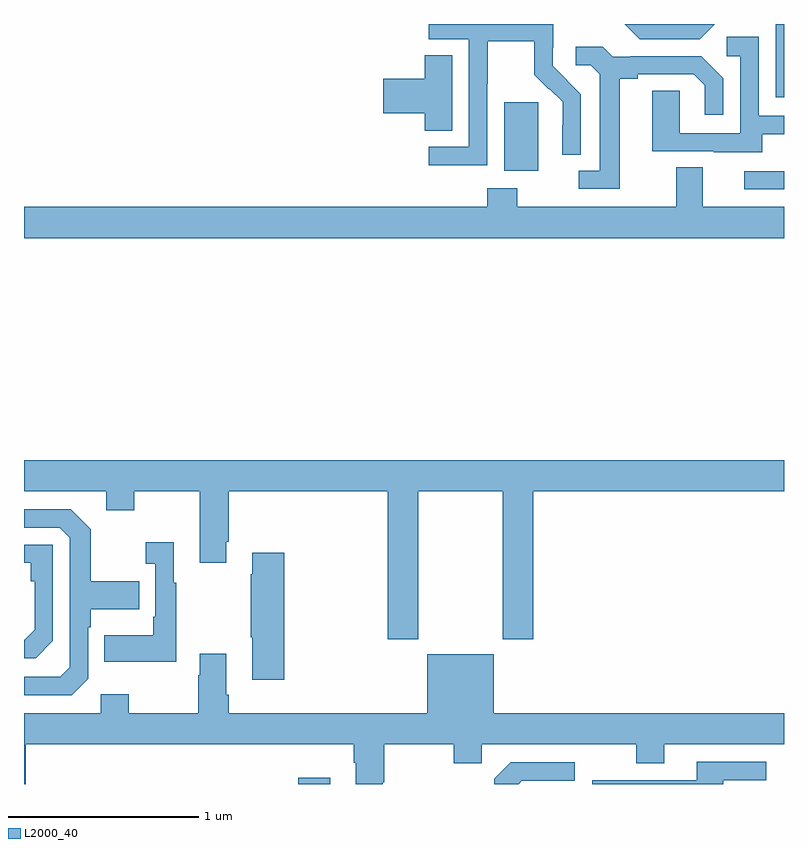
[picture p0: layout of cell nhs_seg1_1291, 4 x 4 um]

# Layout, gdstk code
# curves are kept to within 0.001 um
import gdstk
lib = gdstk.Library(unit=1e-6, precision=1e-09)
def R(c, l, rs):  # rectangles x0, y0, x1, y1
    for r in rs: c.add(gdstk.rectangle(r[:2], r[2:], *l))
def P(c, l, *ps):  # polygons
    for p in ps: c.add(gdstk.Polygon(p, *l))
L2000_40 = (2000, 40)

nhs_seg1_1291 = lib.new_cell('nhs_seg1_1291')
R(nhs_seg1_1291, L2000_40, [(182.444,542.199,182.611,542.233), (184.791,545.328,185,545.424), (183.527,545.426,183.706,545.787), (184.956,545.814,185,546.199)])
P(nhs_seg1_1291, L2000_40, [(184.636,546.199),(184.163,546.199),(184.242,546.12),(184.557,546.12)],
  [(183.438,545.884),(183.441,545.884),(183.441,546.108),(183.685,546.108),(183.685,545.933),(183.762,545.856),(183.765,545.859),(183.836,545.789),(183.836,545.666),(183.834,545.666),(183.834,545.512),(183.93,545.512),(183.93,545.83),(183.784,545.978),(183.784,546.075),(183.786,546.075),(183.786,546.199),(183.129,546.199),(183.129,546.12),(183.342,546.12),(183.342,545.553),(183.129,545.553),(183.129,545.455),(183.438,545.455)],
  [(184.885,545.619),(185,545.619),(185,545.715),(184.866,545.715),(184.866,546.131),(184.698,546.131),(184.698,546.03),(184.77,546.03),(184.77,545.625),(184.452,545.625),(184.452,545.849),(184.307,545.849),(184.307,545.529),(184.631,545.529),(184.631,545.525),(184.885,545.525)],
  [(184.135,545.912),(184.231,545.912),(184.231,545.934),(184.526,545.934),(184.583,545.877),(184.583,545.721),(184.68,545.721),(184.68,545.914),(184.564,546.03),(184.192,546.03),(184.192,546.027),(184.098,546.027),(184.046,546.079),(183.903,546.079),(183.903,545.982),(183.984,545.982),(184.031,545.935),(184.031,545.427),(183.921,545.427),(183.921,545.331),(184.135,545.331)],
  [(183.253,546.035),(183.11,546.035),(183.11,545.912),(182.892,545.912),(182.892,545.729),(183.11,545.729),(183.11,545.638),(183.253,545.638)],
  [(185,545.236),(184.573,545.236),(184.573,545.444),(184.433,545.444),(184.433,545.236),(183.597,545.236),(183.597,545.335),(183.437,545.335),(183.437,545.236),(181,545.236),(181,545.072),(185,545.072)],
  [(183.075,543.74),(183.52,543.74),(183.52,542.961),(183.68,542.961),(183.68,543.74),(185,543.74),(185,543.904),(181,543.904),(181,543.74),(181.433,543.74),(181.433,543.641),(181.581,543.641),(181.581,543.74),(181.925,543.74),(181.925,543.363),(182.065,543.363),(182.065,543.475),(182.078,543.475),(182.078,543.74),(182.915,543.74),(182.915,542.961),(183.075,542.961)],
  [(181.338,542.754),(181.338,543.023),(181.351,543.023),(181.351,543.119),(181.607,543.119),(181.607,543.267),(181.351,543.267),(181.351,543.539),(181.245,543.645),(181,543.645),(181,543.549),(181.188,543.549),(181.242,543.495),(181.242,542.814),(181.191,542.763),(181,542.763),(181,542.667),(181.251,542.667)],
  [(181.801,543.259),(181.789,543.259),(181.789,543.472),(181.641,543.472),(181.641,543.359),(181.692,543.359),(181.692,543.079),(181.68,543.079),(181.68,542.983),(181.423,542.983),(181.423,542.843),(181.801,542.843)],
  [(181.152,542.952),(181.152,543.459),(181,543.459),(181,543.363),(181.036,543.363),(181.036,543.266),(181.056,543.266),(181.056,543.012),(181.003,542.959),(181,542.959),(181,542.862),(181.062,542.862)],
  [(182.369,543.415),(182.201,543.415),(182.201,543.302),(182.194,543.302),(182.194,542.971),(182.201,542.971),(182.201,542.748),(182.369,542.748)],
  [(181.009,542.408),(182.735,542.408),(182.735,542.312),(182.747,542.312),(182.747,542.199),(182.887,542.199),(182.887,542.209),(182.895,542.209),(182.895,542.408),(183.262,542.408),(183.262,542.309),(183.408,542.309),(183.408,542.408),(184.222,542.408),(184.222,542.309),(184.369,542.309),(184.369,542.408),(185,542.408),(185,542.572),(183.472,542.572),(183.472,542.881),(183.122,542.881),(183.122,542.572),(182.078,542.572),(182.078,542.668),(182.065,542.668),(182.065,542.884),(181.925,542.884),(181.925,542.771),(181.918,542.771),(181.918,542.572),(181.551,542.572),(181.551,542.671),(181.404,542.671),(181.404,542.572),(181,542.572),(181,542.199),(181.009,542.199)],
  [(184.681,542.22),(184.906,542.22),(184.906,542.316),(184.541,542.316),(184.541,542.22),(183.99,542.22),(183.99,542.199),(184.681,542.199)],
  [(183.621,542.217),(183.898,542.217),(183.898,542.313),(183.561,542.313),(183.474,542.226),(183.474,542.199),(183.603,542.199)])

lib.write_gds('nhs_seg1_1291.gds')
